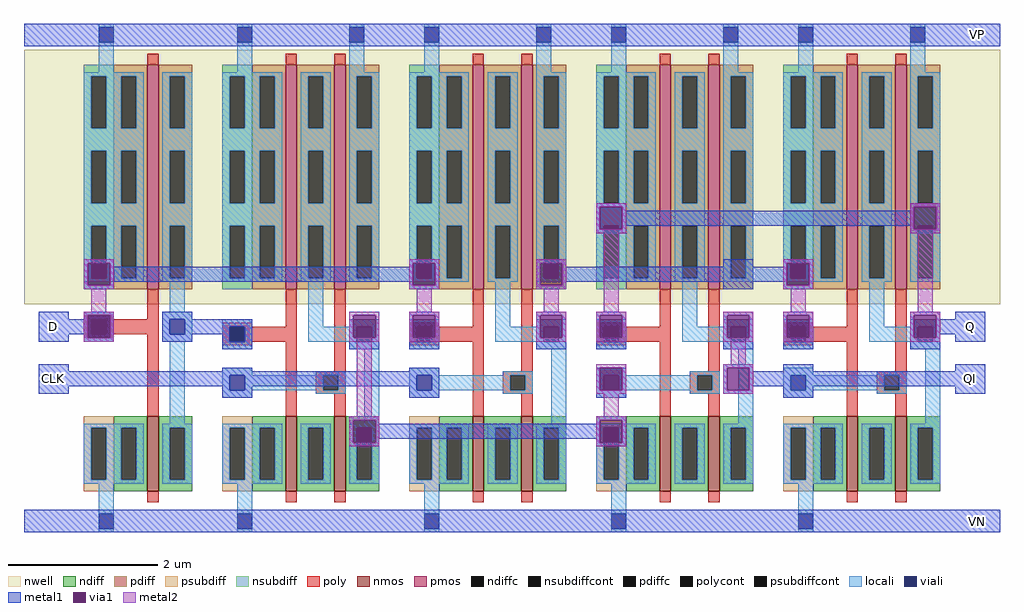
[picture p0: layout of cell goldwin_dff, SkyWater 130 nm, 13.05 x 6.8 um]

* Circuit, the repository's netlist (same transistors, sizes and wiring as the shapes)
** sch_path: /foss/designs/APIC-2025/APIC-UTS/schematic/goldwin_dff/goldwin_dff.sch
.subckt goldwin_dff D CLK VP VN Q QI
*.PININFO D:I CLK:I VP:I VN:I Q:O QI:O
x1 D net1 VP VN goldwin_not
x3 net3 QI Q VP VN goldwin_nand
x4 net1 CLK net2 VP VN goldwin_nand
x5 D CLK net3 VP VN goldwin_nand
x6 Q net2 QI VP VN goldwin_nand
.ends

* expanding   symbol:  /foss/designs/APIC-2025/APIC-UTS/schematic/goldwin_not/goldwin_not.sym # of pins=4
** sym_path: /foss/designs/APIC-2025/APIC-UTS/schematic/goldwin_not/goldwin_not.sym
** sch_path: /foss/designs/APIC-2025/APIC-UTS/schematic/goldwin_not/goldwin_not.sch
.subckt goldwin_not A Y VP VN
*.PININFO A:I VP:I VN:I Y:O
XM1 Y A VN VN sky130_fd_pr__nfet_01v8 L=0.15 W=1 nf=1 m=1
XM2 Y A VP VP sky130_fd_pr__pfet_01v8 L=0.15 W=3 nf=1 m=1
.ends


* expanding   symbol:  /foss/designs/APIC-2025/APIC-UTS/schematic/goldwin_nand/goldwin_nand.sym # of pins=5
** sym_path: /foss/designs/APIC-2025/APIC-UTS/schematic/goldwin_nand/goldwin_nand.sym
** sch_path: /foss/designs/APIC-2025/APIC-UTS/schematic/goldwin_nand/goldwin_nand.sch
.subckt goldwin_nand A B Y VP VN
*.PININFO A:I B:I VP:I VN:I Y:O
XM1 Y A VP VP sky130_fd_pr__pfet_01v8 L=0.15 W=3 nf=1 m=1
XM2 Y B VP VP sky130_fd_pr__pfet_01v8 L=0.15 W=3 nf=1 m=1
XM3 Y B net1 VN sky130_fd_pr__nfet_01v8 L=0.15 W=1 nf=1 m=1
XM4 net1 A VN VN sky130_fd_pr__nfet_01v8 L=0.15 W=1 nf=1 m=1
.ends

.end

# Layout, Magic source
magic
tech sky130A
<< nwell >>
rect -60 305 1245 645
<< metal1 >>
rect -60 650 1245 680
rect 705 435 745 440
rect 705 405 710 435
rect 740 430 745 435
rect 1125 435 1165 440
rect 1125 430 1130 435
rect 740 410 1130 430
rect 740 405 745 410
rect 705 400 745 405
rect 1125 405 1130 410
rect 1160 405 1165 435
rect 1125 400 1165 405
rect 20 360 60 365
rect 20 330 25 360
rect 55 355 60 360
rect 455 360 495 365
rect 455 355 460 360
rect 55 335 460 355
rect 55 330 60 335
rect 20 325 60 330
rect 455 330 460 335
rect 490 330 495 360
rect 455 325 495 330
rect 625 360 665 365
rect 625 330 630 360
rect 660 355 665 360
rect 875 355 915 365
rect 955 360 995 365
rect 955 355 960 360
rect 660 335 960 355
rect 660 330 665 335
rect 625 325 665 330
rect 875 325 915 335
rect 955 330 960 335
rect 990 330 995 360
rect 955 325 995 330
rect -40 285 0 295
rect 455 290 495 295
rect -40 265 20 285
rect -40 255 0 265
rect 165 265 205 285
rect 455 260 460 290
rect 490 260 495 290
rect 455 255 495 260
rect 625 290 665 295
rect 625 260 630 290
rect 660 260 665 290
rect 625 255 665 260
rect 705 290 745 295
rect 705 260 710 290
rect 740 260 745 290
rect 705 255 745 260
rect 875 290 915 295
rect 875 260 880 290
rect 910 260 915 290
rect 875 255 915 260
rect 955 290 995 295
rect 955 260 960 290
rect 990 260 995 290
rect 955 255 995 260
rect 1125 290 1165 295
rect 1125 260 1130 290
rect 1160 285 1165 290
rect 1185 285 1225 295
rect 1160 265 1225 285
rect 1160 260 1165 265
rect 1125 255 1165 260
rect 1185 255 1225 265
rect -40 215 0 225
rect 875 220 915 225
rect -40 195 205 215
rect 245 195 455 215
rect -40 185 0 195
rect 875 190 880 220
rect 910 215 915 220
rect 955 215 995 225
rect 1185 215 1225 225
rect 910 195 1225 215
rect 910 190 915 195
rect 875 185 915 190
rect 955 185 995 195
rect 1185 185 1225 195
rect 375 150 415 155
rect 375 120 380 150
rect 410 145 415 150
rect 705 150 745 155
rect 705 145 710 150
rect 410 125 710 145
rect 410 120 415 125
rect 375 115 415 120
rect 705 120 710 125
rect 740 120 745 150
rect 705 115 745 120
rect -60 0 1245 30
<< via1 >>
rect 710 405 740 435
rect 1130 405 1160 435
rect 25 330 55 360
rect 460 330 490 360
rect 630 330 660 360
rect 960 330 990 360
rect 25 260 55 290
rect 380 260 410 290
rect 460 260 490 290
rect 630 260 660 290
rect 710 260 740 290
rect 880 260 910 290
rect 960 260 990 290
rect 1130 260 1160 290
rect 710 190 740 220
rect 880 190 910 220
rect 380 120 410 150
rect 710 120 740 150
<< metal2 >>
rect 705 435 745 440
rect 705 405 710 435
rect 740 405 745 435
rect 705 400 745 405
rect 1125 435 1165 440
rect 1125 405 1130 435
rect 1160 405 1165 435
rect 1125 400 1165 405
rect 20 360 60 365
rect 20 330 25 360
rect 55 330 60 360
rect 20 325 60 330
rect 455 360 495 365
rect 455 330 460 360
rect 490 330 495 360
rect 455 325 495 330
rect 625 360 665 365
rect 625 330 630 360
rect 660 330 665 360
rect 625 325 665 330
rect 30 295 50 325
rect 465 295 485 325
rect 635 295 655 325
rect 715 295 735 400
rect 955 360 995 365
rect 955 330 960 360
rect 990 330 995 360
rect 955 325 995 330
rect 965 295 985 325
rect 1135 295 1155 400
rect 20 290 60 295
rect 20 260 25 290
rect 55 260 60 290
rect 20 255 60 260
rect 375 290 415 295
rect 375 260 380 290
rect 410 260 415 290
rect 375 255 415 260
rect 455 290 495 295
rect 455 260 460 290
rect 490 260 495 290
rect 455 255 495 260
rect 625 290 665 295
rect 625 260 630 290
rect 660 260 665 290
rect 625 255 665 260
rect 705 290 745 295
rect 705 260 710 290
rect 740 260 745 290
rect 705 255 745 260
rect 875 290 915 295
rect 875 260 880 290
rect 910 260 915 290
rect 875 255 915 260
rect 955 290 995 295
rect 955 260 960 290
rect 990 260 995 290
rect 955 255 995 260
rect 1125 290 1165 295
rect 1125 260 1130 290
rect 1160 260 1165 290
rect 1125 255 1165 260
rect 385 155 405 255
rect 885 225 905 255
rect 705 220 745 225
rect 705 190 710 220
rect 740 190 745 220
rect 705 185 745 190
rect 875 220 915 225
rect 875 190 880 220
rect 910 190 915 220
rect 875 185 915 190
rect 715 155 735 185
rect 375 150 415 155
rect 375 120 380 150
rect 410 120 415 150
rect 375 115 415 120
rect 705 150 745 155
rect 705 120 710 150
rect 740 120 745 150
rect 705 115 745 120
use goldwin_nand  goldwin_nand_0 ../goldwin_nand
transform 1 0 1040 0 1 55
box -105 -55 145 625
use goldwin_nand  goldwin_nand_1
transform 1 0 290 0 1 55
box -105 -55 145 625
use goldwin_nand  goldwin_nand_2
transform 1 0 540 0 1 55
box -105 -55 145 625
use goldwin_nand  goldwin_nand_3
transform 1 0 790 0 1 55
box -105 -55 145 625
use goldwin_nand  goldwin_nand_4
transform 1 0 790 0 1 55
box -105 -55 145 625
use goldwin_nand  goldwin_nand_5
transform 1 0 540 0 1 55
box -105 -55 145 625
use goldwin_nand  goldwin_nand_6
transform 1 0 290 0 1 55
box -105 -55 145 625
use goldwin_not  goldwin_not_0 ../goldwin_not
transform 1 0 105 0 1 55
box -105 -55 80 625
<< labels >>
flabel metal1 -40 255 0 295 1 FreeSans 200 0 0 -120 D
port 1 n
flabel metal1 -40 185 0 225 1 FreeSans 200 0 0 -120 CLK
port 2 n
flabel metal1 1185 255 1225 295 1 FreeSans 200 0 0 -120 Q
port 3 n
flabel metal1 1185 185 1225 225 1 FreeSans 200 0 0 -120 QI
port 4 n
flabel metal1 1205 650 1225 680 1 FreeSans 200 0 0 -120 VP
port 5 n
flabel metal1 1205 0 1225 30 1 FreeSans 200 0 0 -120 VN
port 6 n
<< end >>

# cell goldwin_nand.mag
magic
tech sky130A
<< nwell >>
rect -105 250 145 590
<< nmos >>
rect 0 0 15 100
rect 65 0 80 100
<< pmos >>
rect 0 270 15 570
rect 65 270 80 570
<< ndiff >>
rect -45 85 0 100
rect -45 15 -35 85
rect -15 15 0 85
rect -45 0 0 15
rect 15 85 65 100
rect 15 15 30 85
rect 50 15 65 85
rect 15 0 65 15
rect 80 85 125 100
rect 80 15 95 85
rect 115 15 125 85
rect 80 0 125 15
<< pdiff >>
rect -45 555 0 570
rect -45 485 -35 555
rect -15 485 0 555
rect -45 455 0 485
rect -45 385 -35 455
rect -15 385 0 455
rect -45 355 0 385
rect -45 285 -35 355
rect -15 285 0 355
rect -45 270 0 285
rect 15 555 65 570
rect 15 485 30 555
rect 50 485 65 555
rect 15 455 65 485
rect 15 385 30 455
rect 50 385 65 455
rect 15 355 65 385
rect 15 285 30 355
rect 50 285 65 355
rect 15 270 65 285
rect 80 555 125 570
rect 80 485 95 555
rect 115 485 125 555
rect 80 455 125 485
rect 80 385 95 455
rect 115 385 125 455
rect 80 355 125 385
rect 80 285 95 355
rect 115 285 125 355
rect 80 270 125 285
<< ndiffc >>
rect -35 15 -15 85
rect 30 15 50 85
rect 95 15 115 85
<< pdiffc >>
rect -35 485 -15 555
rect -35 385 -15 455
rect -35 285 -15 355
rect 30 485 50 555
rect 30 385 50 455
rect 30 285 50 355
rect 95 485 115 555
rect 95 385 115 455
rect 95 285 115 355
<< psubdiff >>
rect -85 85 -45 100
rect -85 15 -75 85
rect -55 15 -45 85
rect -85 0 -45 15
<< nsubdiff >>
rect -85 555 -45 570
rect -85 485 -75 555
rect -55 485 -45 555
rect -85 455 -45 485
rect -85 385 -75 455
rect -55 385 -45 455
rect -85 355 -45 385
rect -85 285 -75 355
rect -55 285 -45 355
rect -85 270 -45 285
<< psubdiffcont >>
rect -75 15 -55 85
<< nsubdiffcont >>
rect -75 485 -55 555
rect -75 385 -55 455
rect -75 285 -55 355
<< poly >>
rect 0 570 15 585
rect 65 570 80 585
rect -85 220 -45 225
rect 0 220 15 270
rect -85 200 -75 220
rect -55 200 15 220
rect -85 195 -45 200
rect 0 100 15 200
rect 65 160 80 270
rect 40 155 80 160
rect 40 135 50 155
rect 70 135 80 155
rect 40 130 80 135
rect 65 100 80 130
rect 0 -15 15 0
rect 65 -15 80 0
<< polycont >>
rect -75 200 -55 220
rect 50 135 70 155
<< locali >>
rect -65 620 -45 625
rect -65 560 -45 600
rect 85 620 105 625
rect 85 560 105 600
rect -85 555 -5 560
rect -85 485 -75 555
rect -55 485 -35 555
rect -15 485 -5 555
rect -85 455 -5 485
rect -85 385 -75 455
rect -55 385 -35 455
rect -15 385 -5 455
rect -85 355 -5 385
rect -85 285 -75 355
rect -55 285 -35 355
rect -15 285 -5 355
rect -85 280 -5 285
rect 20 555 60 560
rect 20 485 30 555
rect 50 485 60 555
rect 20 455 60 485
rect 20 385 30 455
rect 50 385 60 455
rect 20 355 60 385
rect 20 285 30 355
rect 50 285 60 355
rect 20 280 60 285
rect 85 555 125 560
rect 85 485 95 555
rect 115 485 125 555
rect 85 455 125 485
rect 85 385 95 455
rect 115 385 125 455
rect 85 355 125 385
rect 85 285 95 355
rect 115 285 125 355
rect 85 280 125 285
rect -85 220 -45 230
rect -85 200 -75 220
rect -55 200 -45 220
rect 30 220 50 280
rect 85 220 125 230
rect 30 200 95 220
rect 115 200 125 220
rect -85 190 -45 200
rect 85 190 125 200
rect -85 155 -45 165
rect 40 155 80 160
rect -85 135 -75 155
rect -55 135 50 155
rect 70 135 80 155
rect -85 125 -45 135
rect 40 130 80 135
rect 105 90 125 190
rect -85 85 -5 90
rect -85 15 -75 85
rect -55 15 -35 85
rect -15 15 -5 85
rect -85 10 -5 15
rect 20 85 60 90
rect 20 15 30 85
rect 50 15 60 85
rect 20 10 60 15
rect 85 85 125 90
rect 85 15 95 85
rect 115 15 125 85
rect 85 10 125 15
rect -65 -30 -45 10
rect -65 -55 -45 -50
<< viali >>
rect -65 600 -45 620
rect 85 600 105 620
rect -75 200 -55 220
rect 95 200 115 220
rect -75 135 -55 155
rect -65 -50 -45 -30
<< metal1 >>
rect -105 620 145 625
rect -105 600 -65 620
rect -45 600 85 620
rect 105 600 145 620
rect -105 595 145 600
rect -85 220 -45 230
rect -85 200 -75 220
rect -55 200 -45 220
rect -85 190 -45 200
rect 85 220 125 230
rect 85 200 95 220
rect 115 200 125 220
rect 85 190 125 200
rect -85 155 -45 165
rect -85 135 -75 155
rect -55 135 -45 155
rect -85 125 -45 135
rect -105 -30 145 -25
rect -105 -50 -65 -30
rect -45 -50 145 -30
rect -105 -55 145 -50
<< labels >>
flabel metal1 -85 190 -45 230 1 FreeSans 200 0 0 -120 A
port 1 n
flabel metal1 -85 125 -45 165 1 FreeSans 200 0 0 -120 B
port 2 n
flabel metal1 85 190 125 230 1 FreeSans 200 0 0 -120 Y
port 3 n
flabel metal1 125 595 145 625 1 FreeSans 200 0 0 -120 VP
port 4 n
flabel metal1 125 -55 145 -25 1 FreeSans 200 0 0 -120 VN
port 5 n
<< end >>

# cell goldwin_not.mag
magic
tech sky130A
<< nwell >>
rect -105 250 80 590
<< nmos >>
rect 0 0 15 100
<< pmos >>
rect 0 270 15 570
<< ndiff >>
rect -45 85 0 100
rect -45 15 -35 85
rect -15 15 0 85
rect -45 0 0 15
rect 15 85 60 100
rect 15 15 30 85
rect 50 15 60 85
rect 15 0 60 15
<< pdiff >>
rect -45 555 0 570
rect -45 485 -35 555
rect -15 485 0 555
rect -45 455 0 485
rect -45 385 -35 455
rect -15 385 0 455
rect -45 355 0 385
rect -45 285 -35 355
rect -15 285 0 355
rect -45 270 0 285
rect 15 555 60 570
rect 15 485 30 555
rect 50 485 60 555
rect 15 455 60 485
rect 15 385 30 455
rect 50 385 60 455
rect 15 355 60 385
rect 15 285 30 355
rect 50 285 60 355
rect 15 270 60 285
<< ndiffc >>
rect -35 15 -15 85
rect 30 15 50 85
<< pdiffc >>
rect -35 485 -15 555
rect -35 385 -15 455
rect -35 285 -15 355
rect 30 485 50 555
rect 30 385 50 455
rect 30 285 50 355
<< psubdiff >>
rect -85 85 -45 100
rect -85 15 -75 85
rect -55 15 -45 85
rect -85 0 -45 15
<< nsubdiff >>
rect -85 555 -45 570
rect -85 485 -75 555
rect -55 485 -45 555
rect -85 455 -45 485
rect -85 385 -75 455
rect -55 385 -45 455
rect -85 355 -45 385
rect -85 285 -75 355
rect -55 285 -45 355
rect -85 270 -45 285
<< psubdiffcont >>
rect -75 15 -55 85
<< nsubdiffcont >>
rect -75 485 -55 555
rect -75 385 -55 455
rect -75 285 -55 355
<< poly >>
rect 0 570 15 585
rect -85 230 -45 235
rect 0 230 15 270
rect -85 210 -75 230
rect -55 210 15 230
rect -85 205 -45 210
rect 0 100 15 210
rect 0 -15 15 0
<< polycont >>
rect -75 210 -55 230
<< locali >>
rect -65 620 -45 625
rect -65 560 -45 600
rect -85 555 -5 560
rect -85 485 -75 555
rect -55 485 -35 555
rect -15 485 -5 555
rect -85 455 -5 485
rect -85 385 -75 455
rect -55 385 -35 455
rect -15 385 -5 455
rect -85 355 -5 385
rect -85 285 -75 355
rect -55 285 -35 355
rect -15 285 -5 355
rect -85 280 -5 285
rect 20 555 60 560
rect 20 485 30 555
rect 50 485 60 555
rect 20 455 60 485
rect 20 385 30 455
rect 50 385 60 455
rect 20 355 60 385
rect 20 285 30 355
rect 50 285 60 355
rect 20 280 60 285
rect 30 240 50 280
rect -85 230 -45 240
rect -85 210 -75 230
rect -55 210 -45 230
rect -85 200 -45 210
rect 20 230 60 240
rect 20 210 30 230
rect 50 210 60 230
rect 20 200 60 210
rect 30 90 50 200
rect -85 85 -5 90
rect -85 15 -75 85
rect -55 15 -35 85
rect -15 15 -5 85
rect -85 10 -5 15
rect 20 85 60 90
rect 20 15 30 85
rect 50 15 60 85
rect 20 10 60 15
rect -65 -30 -45 10
rect -65 -55 -45 -50
<< viali >>
rect -65 600 -45 620
rect -75 210 -55 230
rect 30 210 50 230
rect -65 -50 -45 -30
<< metal1 >>
rect -105 620 80 625
rect -105 600 -65 620
rect -45 600 80 620
rect -105 595 80 600
rect -85 230 -45 240
rect -85 210 -75 230
rect -55 210 -45 230
rect -85 200 -45 210
rect 20 230 60 240
rect 20 210 30 230
rect 50 210 60 230
rect 20 200 60 210
rect -105 -30 80 -25
rect -105 -50 -65 -30
rect -45 -50 80 -30
rect -105 -55 80 -50
<< labels >>
flabel metal1 60 -55 80 -25 1 FreeSans 200 0 0 -120 VN
port 4 n
flabel metal1 60 595 80 625 1 FreeSans 200 0 0 -120 VP
port 3 n
flabel metal1 -85 200 -45 240 1 FreeSans 200 0 0 -120 A
port 1 n
flabel metal1 20 200 60 240 1 FreeSans 200 0 0 -120 Y
port 2 n
<< end >>
